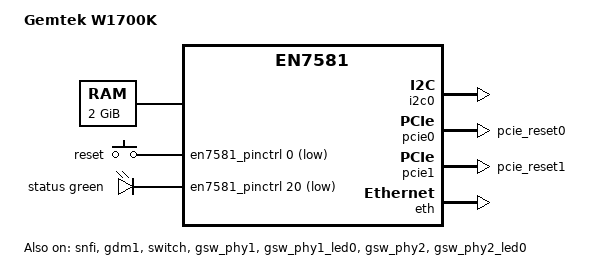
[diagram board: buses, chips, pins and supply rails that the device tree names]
/dts-v1/;

#include <dt-bindings/leds/common.h>
#include <dt-bindings/gpio/gpio.h>
#include <dt-bindings/input/input.h>
#include "an7581.dtsi"

/ {
	model = "Gemtek W1700K";
	compatible = "airoha,gemtek-w1700k", "airoha,an7581", "airoha,en7581";

	aliases {
		serial0 = &uart1;
	};

	chosen {
		bootargs = "console=ttyS0,115200 earlycon"
		stdout-path = "serial0:115200n8";
		linux,usable-memory-range = <0x80200000 0x1fe00000>;
	};

	reserved-memory {
		#address-cells = <1>;
		#size-cells = <1>;
		ranges;

		atf-reserved-memory@80000000 {
			no-map;
			reg = <0x80000000 0x00200000>; // TODO: fix this
		};
	};

	memory@80000000 { // TODO: fix this
		device_type = "memory";
		reg = <0x80000000 0x80000000>;
	};

	gpio-keys-polled {
		compatible = "gpio-keys-polled";
		poll-interval = <100>;
		btn0 {
			label = "reset";
			linux,code = <KEY_RESTART>;
			gpios = <&en7581_pinctrl 0 GPIO_ACTIVE_LOW>; // TODO: fix this
		};
	};

	leds {
		compatible = "gpio-leds";

		status_led: led0 {
			label = "status";
			color = <LED_COLOR_ID_GREEN>;
			function = LED_FUNCTION_STATUS;
			gpios = <&en7581_pinctrl 20 GPIO_ACTIVE_LOW>; // TODO: fix this
			default-state = "on";
		};
	};	
};

&en7581_pinctrl {
	gpio-ranges = <&en7581_pinctrl 0 13 47>; // TODO: fix this

	mdio_pins: mdio-pins {
		mux {
			function = "mdio";
			groups = "mdio";
		};

		conf {
			pins = "gpio2";
			output-high;
		};
	};

	pcie0_rst_pins: pcie0-rst-pins {
		conf {
			pins = "pcie_reset0";
			drive-open-drain = <1>;
		};
	};

	pcie1_rst_pins: pcie1-rst-pins {
		conf {
			pins = "pcie_reset1";
			drive-open-drain = <1>;
		};
	};

	gswp1_len0_pins: gswp1-led0-pins {
		mux {
			function = "phy1_led0";
			pins = "gpio33"; // TODO: fix this
		};
	};

	gswp2_led0Ppins: gsqp2-led0-pins {
		mux {
			function = "phy2_led0";
			pins = "gpio34"; // TODO: fix this
		};
	};

	pwm_gpio18_idx10_pins: pwm-gpio18-iddx10-pins {
		funciton = "pwm";
		pins = "gpio18"; // TODO: fix this
		output-enable;
	};
};

&snfi {
	status = "okay";
};

&spi_nand {
	partitions {
		compatible = "fixed-partitions";
		#address-cells = <1>;
		#size-cells = <1>;

		bootloader@0 {
			label = "bootloader";
			reg = <0x00000000 0x00200000>;
			read-only;
		};

		uenv@200000 {
			label = "uenv";
			reg = <0x00200000 0x00200000>;
		};

		dsd@400000 {
			label = "dsd";
			reg = <0x00400000 0x00200000>;
		};

		kernel@600000 {
			label = "kernel";
			reg = <0x00600000 0x04000000>;
		};

		kernel_slave@4600000 {
			label = "rootfs";
			reg = <0x04600000 0x04000000>;
		};

		system@8600000 {
			label = "overlay";
			reg = <0x08600000 0x17a00000>;
		};
	};
};

&i2c0 {
	status = "okay";
};

&pcie0 {
	pinctrl-names = "default";
	pinctrl-0 = <&pcie0_rst_pins>;
	status = "okay";
};

&pcie1 {
	pinctrl-names = "default";
	pinctrl-0 = <&pcie1_rst_pins>;
	status = "okay";
};

&eth {
	status = "okay";

	// TODO: which are RTL8261N PHYs?
	gdm2: ethernet@2 {
		
	};
};

&gdm1 {
	status = "okay";
};

&switch {
	pinctrl-names = "default";
	pinctrl-0 = <&mdio_pins>;
	status = "okay";

	ports {
		#address-cells = <1>;
		#size-cells = <0>;
		gsw_port@1: port@1 {
			reg = <1>;
			label = "lan1";
			phy-mode = "internal";
			phy-handle = <&gsw_phy1>;
		};

		gsw_port@2: port@2 {
			reg = <2>;
			label = "lan2";
			phy-mode = "internal";
			phy-handle = <&gsw_phy2>;
		};

		port@6 {
			reg = <6>;
			label = "cpu";
			ethernet = <&gdm1>;
			phy-mode = "internal";

			fixed-link {
				speed = <10000>;
				full-duplex;
				pause;
			};
		};
	};
};

&gsw_phy1 {
	pinctrl-names = "led";
	pinctrl-0 = <&gswp1_led0_pins>;
	status = "okay";
};

&gsw_phy1_led0 {
	status = "okay";
};

&gsw_phy2 {
	pinctrl-names = "led";
	pinctrl-0 = <&gswp2_led0_pins>;
	status = "okay";
};

&gsw_phy2_led0 {
	status = "okay";
};
